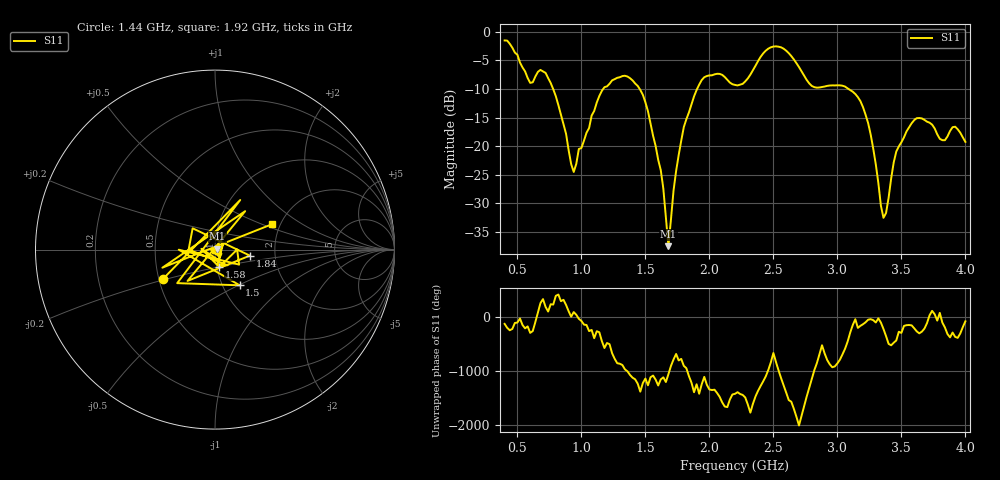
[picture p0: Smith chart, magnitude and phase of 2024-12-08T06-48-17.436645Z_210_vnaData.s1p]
!Created with skrf (http://scikit-rf.org).
# Hz S RI R 50.0
!freq ReS11 ImS11
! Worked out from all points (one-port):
!   181 points, 400 MHz to 4 GHz, reference 50 ohm
!   lowest |S11| = -37.5 dB at 1.68 GHz (marker M1), VSWR 1.03, Z = 51.2 + j0.606 ohm
!   |S11| at or under -10 dB: 779.2 MHz to 1.17 GHz (390.9 MHz wide, 40.1 % of centre); 1.455 GHz to 1.904 GHz (448.6 MHz wide, 26.7 % of centre); 3.087 GHz to end of sweep
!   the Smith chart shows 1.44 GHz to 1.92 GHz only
!   S11 on the Smith chart (normalised r, x): 1.44 GHz: 0.52, -0.20; 1.5 GHz: 1.20, -0.51; 1.58 GHz: 1.03, -0.20; 1.84 GHz: 1.48, -0.10; 1.92 GHz: 1.80, +0.57
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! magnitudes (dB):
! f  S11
! 400 MHz  -1.5
! 600 MHz  -8.9
! 720 MHz  -7.2
! 860 MHz  -16.1
! 940 MHz  -24.5
! 1.14 GHz  -11.2
! 1.3 GHz  -7.9
! 1.44 GHz  -9.5
! 1.5 GHz  -12.3
! 1.58 GHz  -20.0
! 1.64 GHz  -27.4
! 1.68 GHz  -37.5
! 1.76 GHz  -21.6
! 1.84 GHz  -14.1
! 1.92 GHz  -9.3
! 2.2 GHz  -9.3
! 2.48 GHz  -2.7
! 2.66 GHz  -4.8
! 2.8 GHz  -9.5
! 3.1 GHz  -10.2
! 3.24 GHz  -16.0
! 3.36 GHz  -32.5
! 3.46 GHz  -20.9
! 3.56 GHz  -16.7
! 3.66 GHz  -15.1
! 3.84 GHz  -19.0
! 3.92 GHz  -16.6
! 4 GHz  -19.2
